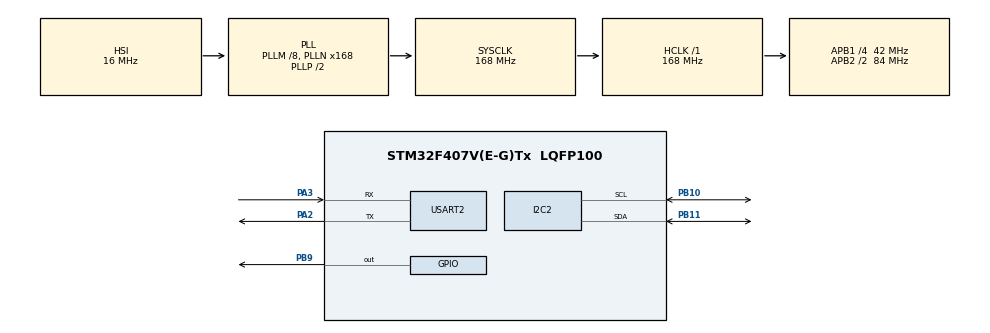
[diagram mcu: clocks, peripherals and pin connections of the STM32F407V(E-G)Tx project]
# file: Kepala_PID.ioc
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Dma.Request0=USART2_RX
Dma.USART2_RX.0.Direction=DMA_PERIPH_TO_MEMORY
Dma.USART2_RX.0.FIFOMode=DMA_FIFOMODE_DISABLE
Dma.USART2_RX.0.Instance=DMA1_Stream5
Dma.USART2_RX.0.MemDataAlignment=DMA_MDATAALIGN_BYTE
Dma.USART2_RX.0.MemInc=DMA_MINC_ENABLE
Dma.USART2_RX.0.Mode=DMA_NORMAL
Dma.USART2_RX.0.PeriphDataAlignment=DMA_PDATAALIGN_BYTE
Dma.USART2_RX.0.PeriphInc=DMA_PINC_DISABLE
Dma.USART2_RX.0.Priority=DMA_PRIORITY_LOW
Mcu.Family=STM32F4
Mcu.Name=STM32F407V(E-G)Tx
Mcu.Package=LQFP100
NVIC.DMA1_Stream5_IRQn=true\:0\:0\:false\:false\:true\:false\:true\:true
NVIC.PriorityGroup=NVIC_PRIORITYGROUP_4
NVIC.USART2_IRQn=true\:0\:0\:false\:false\:true\:true\:true\:true
PA13.Mode=Serial_Wire
PA13.Signal=SYS_JTMS-SWDIO
PA14.Mode=Serial_Wire
PA14.Signal=SYS_JTCK-SWCLK
PA2.Mode=Asynchronous
PA2.Signal=USART2_TX
PA3.Mode=Asynchronous
PA3.Signal=USART2_RX
PB10.Mode=I2C
PB10.Signal=I2C2_SCL
PB11.Mode=I2C
PB11.Signal=I2C2_SDA
PB9.Signal=GPIO_Output
PH0-OSC_IN.Mode=HSE-External-Oscillator
PH0-OSC_IN.Signal=RCC_OSC_IN
PH1-OSC_OUT.Mode=HSE-External-Oscillator
PH1-OSC_OUT.Signal=RCC_OSC_OUT
ProjectManager.HeapSize=0x200
ProjectManager.StackSize=0x400
ProjectManager.TargetToolchain=MDK-ARM V5.32
RCC.48MHZClocksFreq_Value=84000000
RCC.AHBFreq_Value=168000000
RCC.APB1CLKDivider=RCC_HCLK_DIV4
RCC.APB1Freq_Value=42000000
RCC.APB1TimFreq_Value=84000000
RCC.APB2CLKDivider=RCC_HCLK_DIV2
RCC.APB2Freq_Value=84000000
RCC.APB2TimFreq_Value=168000000
RCC.CortexFreq_Value=168000000
RCC.HCLKFreq_Value=168000000
RCC.HSE_VALUE=25000000
RCC.HSI_VALUE=16000000
RCC.LSE_VALUE=32768
RCC.PLLM=8
RCC.PLLN=168
RCC.SYSCLKFreq_VALUE=168000000
RCC.SYSCLKSource=RCC_SYSCLKSOURCE_PLLCLK
RCC.VCOOutputFreq_Value=336000000
USART2.VirtualMode=VM_ASYNC
board=custom

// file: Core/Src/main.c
/* USER CODE BEGIN Header */
/**
  ******************************************************************************
  * @file           : main.c
  * @brief          : Main program body
  ******************************************************************************
  * @attention
  *
  * Copyright (c) 2023 STMicroelectronics.
  * All rights reserved.
  *
  * This software is licensed under terms that can be found in the LICENSE file
  * in the root directory of this software component.
  * If no LICENSE file comes with this software, it is provided AS-IS.
  *
  ******************************************************************************
  */
/* USER CODE END Header */
#include "main.h"

/* USER CODE BEGIN Includes */
#include "Ping_driver.h"
#include "DWT_Delay.h"
#include "pid.h"
#include "Komunikasi.h"
/* USER CODE END Includes */

/* USER CODE BEGIN PTD */
#define STATE_KANAN 1
#define STATE_KIRI 0
/* USER CODE END PTD */

I2C_HandleTypeDef hi2c2;

UART_HandleTypeDef huart2;
DMA_HandleTypeDef hdma_usart2_rx;

void SystemClock_Config(void);
static void MX_GPIO_Init(void);
static void MX_DMA_Init(void);
static void MX_USART2_UART_Init(void);
static void MX_I2C2_Init(void);

/* USER CODE BEGIN 0 */
//****************************** COONFIG  PING *******************************//
Ping_t FR;
Ping_t BR;
Ping_t FL;
Ping_t BL;
Ping_t FF;
Ping_t BB;

double kanan = 0,kiri = 0;
double depan = 0, belakang = 0;

double FRV,BRV,FLV,BLV,FFV,BBV;

//***************************** CONFIG PID **********************************//
PID_TypeDef hPID;
double distance, PID_output, distance_setpoint;

//**************************** CONFIG COMMUNICATION ********************************//
feedback_t feeding;
void HAL_UART_RxCpltCallback(UART_HandleTypeDef *huart)
{
	rx_feedback(&feeding);
}
/* USER CODE END 0 */

int main(void)
{

  /* MCU Configuration--------------------------------------------------------*/

  /* Reset of all peripherals, Initializes the Flash interface and the Systick. */
  HAL_Init();

  /* Configure the system clock */
  SystemClock_Config();

  /* Initialize all configured peripherals */
  MX_GPIO_Init();
  MX_DMA_Init();
  MX_USART2_UART_Init();
  MX_I2C2_Init();
  /* USER CODE BEGIN 2 */
	//********************** Config For PING *************************/
	DWT_Delay_Init();

	FR.PING_PORT = GPIOA;
	FR.PING_PIN = GPIO_PIN_0;
	BR.PING_PORT = GPIOA;
	BR.PING_PIN = GPIO_PIN_1;
	FL.PING_PORT =GPIOB;
	FL.PING_PIN = GPIO_PIN_4;
	BL.PING_PORT = GPIOA;
	BL.PING_PIN = GPIO_PIN_15;
	FF.PING_PORT = GPIOB;
	FF.PING_PIN = GPIO_PIN_9;
	BB.PING_PORT = GPIOA;
	BB.PING_PIN = GPIO_PIN_11;

	//*********************** FUZZY CONFIG **************************//
	distance_setpoint = 10;
	PID(&hPID, &distance, &PID_output, &distance_setpoint, 2, 1, 1, PID_PROPOTIONAL_ERROR, PID_CONTROL_DIRECTION_FORWARD);
	PID_SetMode(&hPID, PID_AUTOMATIC_MODE);
  PID_SetSampleTime(&hPID, 500);
  PID_SetOutputLimits(&hPID, 0, 30);

	//*********************** FUZZY CONFIG **************************//
	komunikasi_init(&huart2);
	rx_start();

  /* USER CODE END 2 */

  /* Infinite loop */
  /* USER CODE BEGIN WHILE */
  while (1)
  {
		//************************** READ VALUE PING *********************//
		BBV = ping_read(BB);
		FRV = ping_read(FR);
		BRV = ping_read(BR);
		BLV = ping_read(BL);
		FLV = ping_read(FL);
		FFV = ping_read(FF);

		//************************* Filter for PING **********************//
		if((FRV >= BRV)&&(FRV > 0)) kanan = FRV;
		else if((FRV <= BRV)&&(BRV > 0)) kanan = BRV;
		else kanan = 0;

		if((FLV >= BLV) && (FLV > 0.0)) kiri = FLV;
		else if((FLV <= BLV) && (BLV > 0.0)) kiri = BLV;
		else kiri = 0;

		if(FFV >= 0) depan = FFV;
		else depan = 0;

		if(BBV >= 0) belakang = BBV;
		else belakang = 0;

		//************************* FUZZY CALCULATION *******************//
		if((STATE_KANAN == 1)&&(kanan > 0.0)){
			distance = kanan;
			PID_Compute(&hPID);
		}
		else if((STATE_KIRI == 1)&&(kiri > 0)){
			distance = kiri;
			PID_Compute(&hPID);
		}

		//************************* SEND MESSAGE ***********************//
		// Wall follower Kanan -> Nilai > 30
		if((STATE_KANAN == 1) && PID_output > 0.0) tx_move_jalan(PID_output+30, 15, 0, 5);

		// Wall follower Kiri -> Nilai < 30
		else if((STATE_KIRI == 1) && PID_output > 0.0) tx_move_jalan(PID_output, 15, 0, 5);

		else tx_move_jalan(PID_output, 0, 0, 5);
    /* USER CODE END WHILE */

  }
}

void SystemClock_Config(void)
{
  RCC_OscInitTypeDef RCC_OscInitStruct = {0};
  RCC_ClkInitTypeDef RCC_ClkInitStruct = {0};

  /** Configure the main internal regulator output voltage
  */
  __HAL_RCC_PWR_CLK_ENABLE();
  __HAL_PWR_VOLTAGESCALING_CONFIG(PWR_REGULATOR_VOLTAGE_SCALE1);

  /** Initializes the RCC Oscillators according to the specified parameters
  * in the RCC_OscInitTypeDef structure.
  */
  RCC_OscInitStruct.OscillatorType = RCC_OSCILLATORTYPE_HSI;
  RCC_OscInitStruct.HSIState = RCC_HSI_ON;
  RCC_OscInitStruct.HSICalibrationValue = RCC_HSICALIBRATION_DEFAULT;
  RCC_OscInitStruct.PLL.PLLState = RCC_PLL_ON;
  RCC_OscInitStruct.PLL.PLLSource = RCC_PLLSOURCE_HSI;
  RCC_OscInitStruct.PLL.PLLM = 8;
  RCC_OscInitStruct.PLL.PLLN = 168;
  RCC_OscInitStruct.PLL.PLLP = RCC_PLLP_DIV2;
  RCC_OscInitStruct.PLL.PLLQ = 4;
  if (HAL_RCC_OscConfig(&RCC_OscInitStruct) != HAL_OK)
  {
    Error_Handler();
  }

  /** Initializes the CPU, AHB and APB buses clocks
  */
  RCC_ClkInitStruct.ClockType = RCC_CLOCKTYPE_HCLK|RCC_CLOCKTYPE_SYSCLK
                              |RCC_CLOCKTYPE_PCLK1|RCC_CLOCKTYPE_PCLK2;
  RCC_ClkInitStruct.SYSCLKSource = RCC_SYSCLKSOURCE_PLLCLK;
  RCC_ClkInitStruct.AHBCLKDivider = RCC_SYSCLK_DIV1;
  RCC_ClkInitStruct.APB1CLKDivider = RCC_HCLK_DIV4;
  RCC_ClkInitStruct.APB2CLKDivider = RCC_HCLK_DIV2;

  if (HAL_RCC_ClockConfig(&RCC_ClkInitStruct, FLASH_LATENCY_5) != HAL_OK)
  {
    Error_Handler();
  }
}

static void MX_I2C2_Init(void)
{

  hi2c2.Instance = I2C2;
  hi2c2.Init.ClockSpeed = 100000;
  hi2c2.Init.DutyCycle = I2C_DUTYCYCLE_2;
  hi2c2.Init.OwnAddress1 = 0;
  hi2c2.Init.AddressingMode = I2C_ADDRESSINGMODE_7BIT;
  hi2c2.Init.DualAddressMode = I2C_DUALADDRESS_DISABLE;
  hi2c2.Init.OwnAddress2 = 0;
  hi2c2.Init.GeneralCallMode = I2C_GENERALCALL_DISABLE;
  hi2c2.Init.NoStretchMode = I2C_NOSTRETCH_DISABLE;
  if (HAL_I2C_Init(&hi2c2) != HAL_OK)
  {
    Error_Handler();
  }

}

static void MX_USART2_UART_Init(void)
{

  huart2.Instance = USART2;
  huart2.Init.BaudRate = 115200;
  huart2.Init.WordLength = UART_WORDLENGTH_8B;
  huart2.Init.StopBits = UART_STOPBITS_1;
  huart2.Init.Parity = UART_PARITY_NONE;
  huart2.Init.Mode = UART_MODE_TX_RX;
  huart2.Init.HwFlowCtl = UART_HWCONTROL_NONE;
  huart2.Init.OverSampling = UART_OVERSAMPLING_16;
  if (HAL_UART_Init(&huart2) != HAL_OK)
  {
    Error_Handler();
  }

}

static void MX_DMA_Init(void)
{

  /* DMA controller clock enable */
  __HAL_RCC_DMA1_CLK_ENABLE();

  /* DMA interrupt init */
  /* DMA1_Stream5_IRQn interrupt configuration */
  HAL_NVIC_SetPriority(DMA1_Stream5_IRQn, 0, 0);
  HAL_NVIC_EnableIRQ(DMA1_Stream5_IRQn);

}

static void MX_GPIO_Init(void)
{
  GPIO_InitTypeDef GPIO_InitStruct = {0};

  /* GPIO Ports Clock Enable */
  __HAL_RCC_GPIOH_CLK_ENABLE();
  __HAL_RCC_GPIOA_CLK_ENABLE();
  __HAL_RCC_GPIOB_CLK_ENABLE();

  /*Configure GPIO pin Output Level */
  HAL_GPIO_WritePin(GPIOB, GPIO_PIN_9, GPIO_PIN_RESET);

  /*Configure GPIO pin : PB9 */
  GPIO_InitStruct.Pin = GPIO_PIN_9;
  GPIO_InitStruct.Mode = GPIO_MODE_OUTPUT_PP;
  GPIO_InitStruct.Pull = GPIO_NOPULL;
  GPIO_InitStruct.Speed = GPIO_SPEED_FREQ_LOW;
  HAL_GPIO_Init(GPIOB, &GPIO_InitStruct);

}

void Error_Handler(void)
{
  __disable_irq();
  while (1)
  {
  }
}
